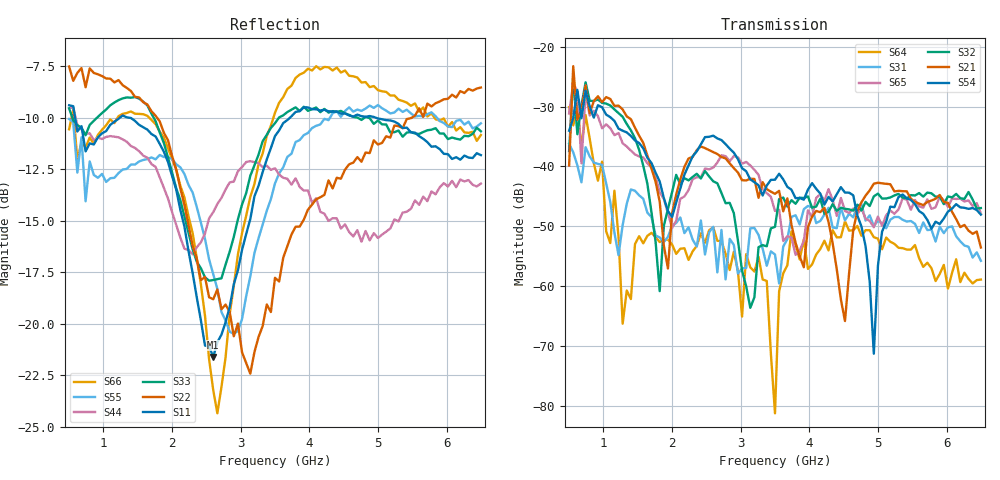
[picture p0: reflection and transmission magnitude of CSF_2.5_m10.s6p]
!Keysight Technologies,M9804A,MY58100912,A.14.10.03
!Date: Thursday, April 27, 2023 10:28:33
!Correction: S11(C  6-Port  )
!S12(C  6-Port  )
!S13(C  6-Port  )
!S14(C  6-Port  )
!S15(C  6-Port  )
!S16(C  6-Port  )
!S21(C  6-Port  )
!S22(C  6-Port  )
!S23(C  6-Port  )
!S24(C  6-Port  )
!S25(C  6-Port  )
!S26(C  6-Port  )
!S31(C  6-Port  )
!S32(C  6-Port  )
!S33(C  6-Port  )
!S34(C  6-Port  )
!S35(C  6-Port  )
!S36(C  6-Port  )
!S41(C  6-Port  )
!S42(C  6-Port  )
!S43(C  6-Port  )
!S44(C  6-Port  )
!S45(C  6-Port  )
!S46(C  6-Port  )
!S51(C  6-Port  )
!S52(C  6-Port  )
!S53(C  6-Port  )
!S54(C  6-Port  )
!S55(C  6-Port  )
!S56(C  6-Port  )
!S61(C  6-Port  )
!S62(C  6-Port  )
!S63(C  6-Port  )
!S64(C  6-Port  )
!S65(C  6-Port  )
!S66(C  6-Port  )
!S6P File: Measurement: :
# Hz S  RI  R 50
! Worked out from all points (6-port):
!   101 points, 500 MHz to 6.5 GHz, reference 50 ohm
!   strongest paths, dB at 500 MHz, 2 GHz, 3.5 GHz, 5 GHz, 6.5 GHz:
!     S54: -34.0, -48.5, -42.2, -56.6, -48.1
!     S21: -39.9, -47.8, -44.6, -42.7, -53.6
!     S32: -37.5, -44.3, -50.1, -44.6, -47.0
!     S65: -31.2, -50.3, -47.4, -48.4, -47.9
!     S31: -36.2, -50.0, -54.7, -49.1, -55.8
!     S64: -30.1, -53.0, -81.3, -52.1, -58.9
!   lowest |S11| = -21.6 dB at 2.6 GHz (marker M1), VSWR 1.18, Z = 42.6 + j2.04 ohm
!   |S11| at or under -10 dB: 587.7 MHz to 1.236 GHz (648.7 MHz wide, 71.1 % of centre); 1.391 GHz to 3.715 GHz (2.323 GHz wide, 91 % of centre); 4.975 GHz to end of sweep
